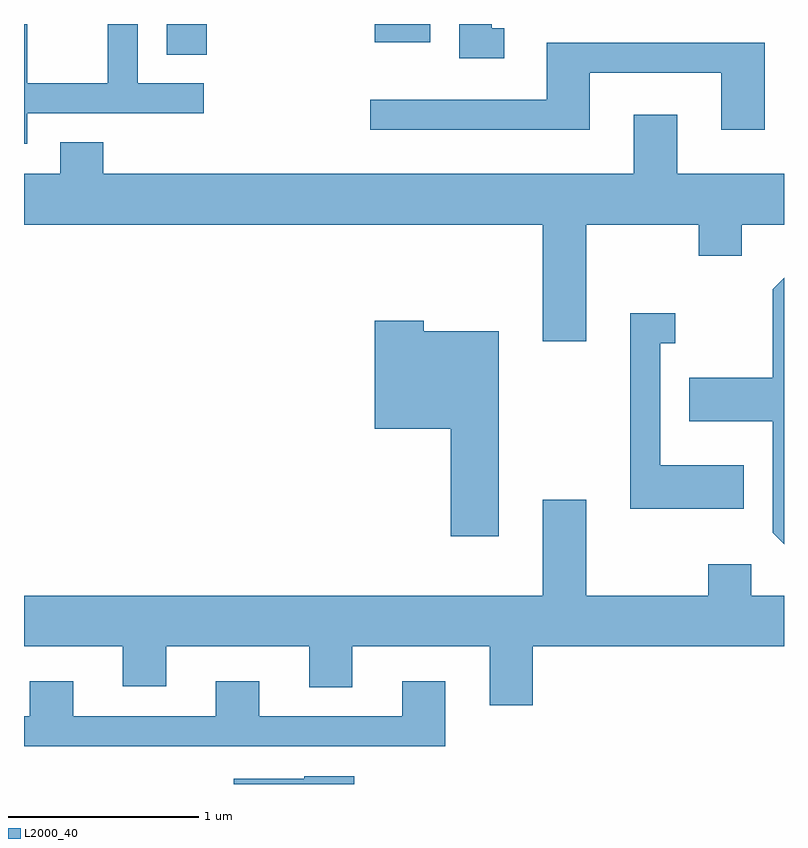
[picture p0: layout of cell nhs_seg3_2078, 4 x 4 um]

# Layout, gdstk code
import gdstk
lib = gdstk.Library(unit=1e-6, precision=1e-09)
def R(c, l, rs):  # rectangles x0, y0, x1, y1
    for r in rs: c.add(gdstk.rectangle(r[:2], r[2:], *l))
def P(c, l, *ps):  # polygons
    for p in ps: c.add(gdstk.Polygon(p, *l))
L2000_40 = (2000, 40)

nhs_seg3_2078 = lib.new_cell('nhs_seg3_2078')
R(nhs_seg3_2078, L2000_40, [(246.361,1195.731,246.574,1195.892), (247.456,1195.796,247.749,1195.892)])
P(nhs_seg3_2078, L2000_40, [(245.629,1195.421),(246.558,1195.421),(246.558,1195.579),(246.209,1195.579),(246.209,1195.892),(246.051,1195.892),(246.051,1195.579),(245.629,1195.579),(245.629,1195.892),(245.611,1195.892),(245.611,1195.261),(245.629,1195.261)],
  [(248.138,1195.869),(248.074,1195.869),(248.074,1195.892),(247.901,1195.892),(247.901,1195.711),(248.138,1195.711)],
  [(248.589,1195.636),(249.281,1195.636),(249.281,1195.336),(249.509,1195.336),(249.509,1195.794),(248.361,1195.794),(248.361,1195.494),(247.433,1195.494),(247.433,1195.336),(248.589,1195.336)],
  [(248.569,1194.836),(249.161,1194.836),(249.161,1194.671),(249.389,1194.671),(249.389,1194.836),(249.611,1194.836),(249.611,1195.104),(249.049,1195.104),(249.049,1195.414),(248.821,1195.414),(248.821,1195.104),(246.029,1195.104),(246.029,1195.269),(245.801,1195.269),(245.801,1195.104),(245.611,1195.104),(245.611,1194.836),(248.341,1194.836),(248.341,1194.221),(248.569,1194.221)],
  [(249.611,1194.557),(249.551,1194.497),(249.551,1194.029),(249.111,1194.029),(249.111,1193.801),(249.551,1193.801),(249.551,1193.214),(249.611,1193.154)],
  [(249.399,1193.569),(248.959,1193.569),(248.959,1194.211),(249.038,1194.211),(249.038,1194.369),(248.801,1194.369),(248.801,1193.341),(249.399,1193.341)],
  [(248.109,1194.274),(247.714,1194.274),(247.714,1194.329),(247.456,1194.329),(247.456,1193.761),(247.856,1193.761),(247.856,1193.196),(248.109,1193.196)],
  [(248.289,1192.616),(249.611,1192.616),(249.611,1192.884),(249.439,1192.884),(249.439,1193.049),(249.211,1193.049),(249.211,1192.884),(248.569,1192.884),(248.569,1193.389),(248.341,1193.389),(248.341,1192.884),(245.611,1192.884),(245.611,1192.616),(246.131,1192.616),(246.131,1192.406),(246.359,1192.406),(246.359,1192.616),(247.111,1192.616),(247.111,1192.401),(247.339,1192.401),(247.339,1192.616),(248.061,1192.616),(248.061,1192.306),(248.289,1192.306)],
  [(247.829,1192.434),(247.601,1192.434),(247.601,1192.249),(246.849,1192.249),(246.849,1192.434),(246.621,1192.434),(246.621,1192.249),(245.869,1192.249),(245.869,1192.434),(245.641,1192.434),(245.641,1192.249),(245.611,1192.249),(245.611,1192.091),(247.829,1192.091)],
  [(247.349,1191.934),(247.085,1191.934),(247.085,1191.919),(246.716,1191.919),(246.716,1191.892),(247.349,1191.892)])

lib.write_gds('nhs_seg3_2078.gds')
